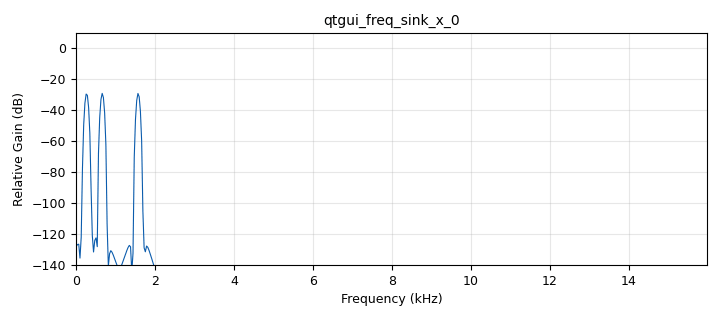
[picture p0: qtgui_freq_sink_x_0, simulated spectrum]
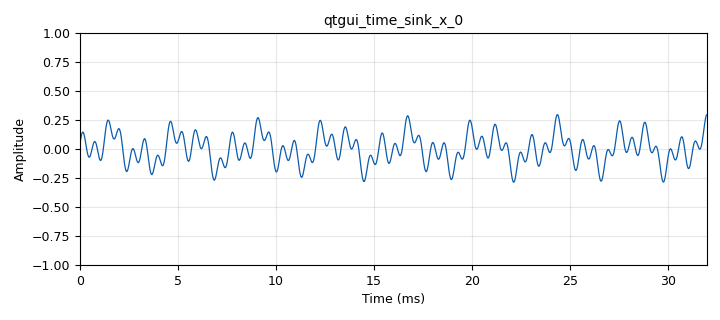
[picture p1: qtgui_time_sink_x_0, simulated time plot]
options:
  parameters:
    generate_options: qt_gui
    id: cmajor_fft
    output_language: python
    title: cmajor fft
  states: {}

blocks:
- name: Freq
  id: variable_qtgui_entry
  parameters:
    type: real
    value: '200'
  states: {}
- name: samp_rate
  id: variable
  parameters:
    value: '32000'
  states: {}
- name: analog_sig_source_x_0
  id: analog_sig_source_x
  parameters:
    amp: '0.1'
    freq: '261.6'
    offset: '0'
    phase: '0'
    samp_rate: samp_rate
    type: float
    waveform: analog.GR_COS_WAVE
  states: {}
- name: analog_sig_source_x_0_0
  id: analog_sig_source_x
  parameters:
    amp: '0.1'
    freq: '1568'
    offset: '0'
    phase: '0'
    samp_rate: samp_rate
    type: float
    waveform: analog.GR_COS_WAVE
  states: {}
- name: analog_sig_source_x_0_1
  id: analog_sig_source_x
  parameters:
    amp: '0.1'
    freq: '659.2'
    offset: '0'
    phase: '0'
    samp_rate: samp_rate
    type: float
    waveform: analog.GR_COS_WAVE
  states: {}
- name: audio_sink_0
  id: audio_sink
  parameters:
    samp_rate: samp_rate
  states: {}
- name: blocks_add_xx_1
  id: blocks_add_xx
  parameters:
    num_inputs: '3'
    type: float
  states: {}
- name: qtgui_freq_sink_x_0
  id: qtgui_freq_sink_x
  parameters:
    bw: samp_rate
    fc: '0'
    fftsize: '1024'
    freqhalf: 'False'
    grid: 'True'
    norm_window: 'True'
    type: float
  states: {}
- name: qtgui_time_sink_x_0
  id: qtgui_time_sink_x
  parameters:
    grid: 'True'
    size: '1024'
    srate: samp_rate
    type: float
  states: {}

connections:
- [analog_sig_source_x_0, '0', blocks_add_xx_1, '0']
- [analog_sig_source_x_0_0, '0', blocks_add_xx_1, '2']
- [analog_sig_source_x_0_1, '0', blocks_add_xx_1, '1']
- [blocks_add_xx_1, '0', audio_sink_0, '0']
- [blocks_add_xx_1, '0', qtgui_freq_sink_x_0, '0']
- [blocks_add_xx_1, '0', qtgui_time_sink_x_0, '0']

metadata:
  file_format: 1
  grc_version: 3.10.5.1
